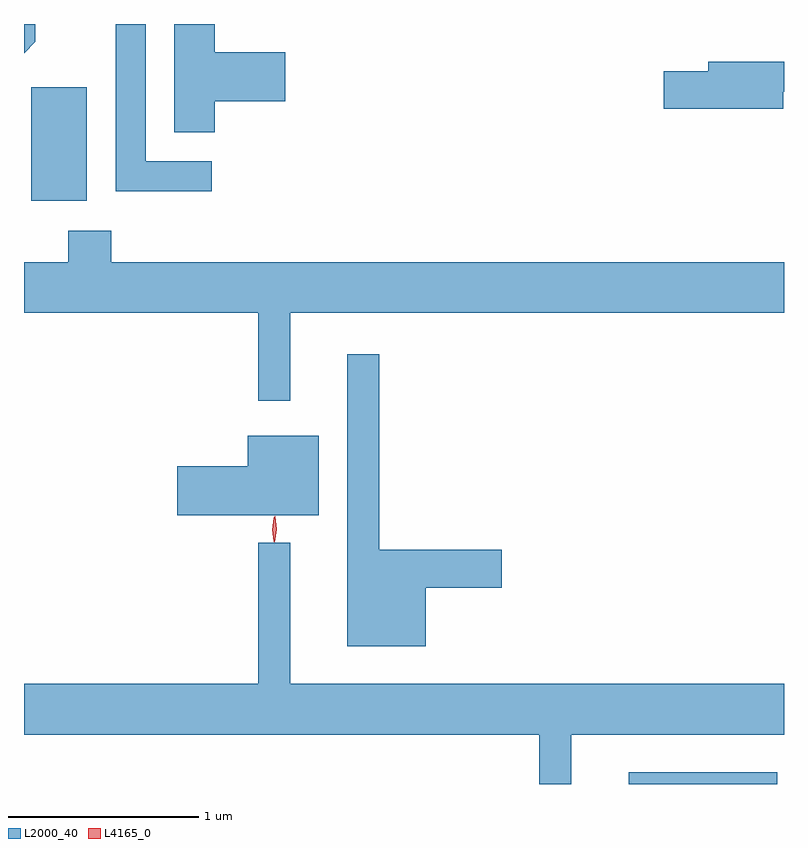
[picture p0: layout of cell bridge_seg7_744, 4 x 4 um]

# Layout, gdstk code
import gdstk
lib = gdstk.Library(unit=1e-6, precision=1e-09)
def R(c, l, rs):  # rectangles x0, y0, x1, y1
    for r in rs: c.add(gdstk.rectangle(r[:2], r[2:], *l))
def P(c, l, *ps):  # polygons
    for p in ps: c.add(gdstk.Polygon(p, *l))
L2000_40 = (2000, 40)
L4165_0 = (4165, 0)

bridge_seg7_744 = lib.new_cell('bridge_seg7_744')
R(bridge_seg7_744, L2000_40, [(465.941,1798.417,466.724,1798.479), (462.796,1801.486,463.089,1802.084)])
P(bridge_seg7_744, L2000_40, [(463.764,1802.011),(464.134,1802.011),(464.134,1802.269),(463.764,1802.269),(463.764,1802.417),(463.551,1802.417),(463.551,1801.846),(463.764,1801.846)],
  [(462.819,1802.324),(462.819,1802.417),(462.759,1802.417),(462.759,1802.264)],
  [(463.748,1801.694),(463.399,1801.694),(463.399,1802.417),(463.241,1802.417),(463.241,1801.536),(463.748,1801.536)],
  [(466.754,1802.061),(466.759,1802.061),(466.759,1802.219),(466.361,1802.219),(466.361,1802.169),(466.126,1802.169),(466.126,1801.971),(466.754,1801.971)],
  [(464.159,1800.896),(466.759,1800.896),(466.759,1801.164),(463.219,1801.164),(463.219,1801.329),(462.991,1801.329),(462.991,1801.164),(462.759,1801.164),(462.759,1800.896),(463.991,1800.896),(463.991,1800.433),(464.159,1800.433)],
  [(464.874,1799.451),(465.274,1799.451),(465.274,1799.649),(464.629,1799.649),(464.629,1800.678),(464.461,1800.678),(464.461,1799.141),(464.874,1799.141)],
  [(464.309,1800.249),(463.936,1800.249),(463.936,1800.089),(463.566,1800.089),(463.566,1799.831),(464.309,1799.831)],
  [(465.639,1798.676),(466.759,1798.676),(466.759,1798.944),(464.159,1798.944),(464.159,1799.688),(463.991,1799.688),(463.991,1798.944),(462.759,1798.944),(462.759,1798.676),(465.471,1798.676),(465.471,1798.417),(465.639,1798.417)])
P(bridge_seg7_744, L4165_0, [(464.078,1799.69),(464.078,1799.69),(464.069,1799.758),(464.08,1799.826),(464.08,1799.826),(464.081,1799.826),(464.089,1799.758),(464.079,1799.69)],
  [(464.074,1799.693),(464.065,1799.756),(464.074,1799.819),(464.075,1799.82),(464.076,1799.819),(464.085,1799.756),(464.076,1799.693),(464.075,1799.693)])

lib.write_gds('bridge_seg7_744.gds')
